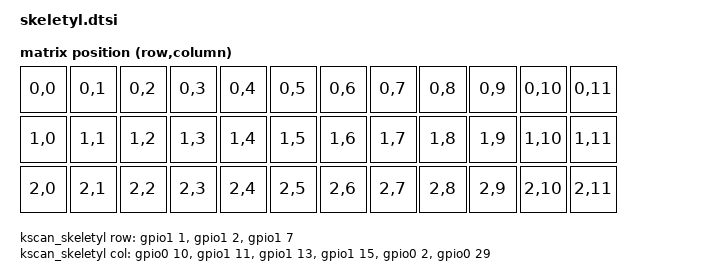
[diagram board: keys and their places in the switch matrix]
/*
 * Copyright (c) 2022 The ZMK Contributors
 *
 * SPDX-License-Identifier: MIT
 */

#include <dt-bindings/zmk/matrix_transform.h>

/ {

    behaviors {
        hml: home_row_mod_left {
            compatible = "zmk,behavior-hold-tap";
            #binding-cells = <2>;
            flavor = "balanced";
            require-prior-idle-ms = <150>;
            tapping-term-ms = <280>;
            quick-tap-ms = <175>;
            bindings = <&kp>, <&kp>;
            hold-trigger-key-positions = < 6 7 8 9 10 11  18 19 20 21 22 23  30 31 32 33 34 35 >; // List of keys on the right side of the keyboard
            hold-trigger-on-release;
        };
        hmr: home_row_mod_right {
            compatible = "zmk,behavior-hold-tap";
            #binding-cells = <2>;
            flavor = "balanced";
            require-prior-idle-ms = <150>;
            tapping-term-ms = <280>;
            quick-tap-ms = <175>;
            bindings = <&kp>, <&kp>;
            hold-trigger-key-positions = < 0 1 2 3 4 5  12 13 14 15 16 17  24 25 26 27 28 29 >; // List of keys on the left side of the keyboard
            hold-trigger-on-release;
        };
    };

    chosen {
        zmk,kscan = &kscan_skeletyl;
        zmk,physical-layout = &physical_layout0;
    };

    physical_layout0: physical_layout_0 { // First physical layout, use different naming for other layouts
        compatible = "zmk,physical-layout";
        display-name = "Default Layout";
        kscan = <&kscan_skeletyl>; // Label of the kscan node, optional if all layouts use the same
        transform = <&default_transform_skeletyl>; // Label of the matrix transform for this layout
    };

    default_transform_skeletyl: keymap_transform {
        compatible = "zmk,matrix-transform";
        columns = <12>;
        rows = <3>;
// | SW1  | SW2  | SW3  | SW4  | SW5  | SW6  |   | SW6  | SW5  | SW4  | SW3  | SW2  | SW1  |
// | SW7  | SW8  | SW9  | SW10 | SW11 | SW12 |   | SW12 | SW11 | SW10 | SW9  | SW8  | SW7  |
// | SW13 | SW14 | SW15 | SW16 | SW17 | SW18 |   | SW18 | SW17 | SW16 | SW15 | SW14 | SW13 |
        map = <
            RC(0,0) RC(0,1) RC(0,2) RC(0,3) RC(0,4) RC(0,5)  RC(0,6) RC(0,7) RC(0,8) RC(0,9) RC(0,10) RC(0,11)
            RC(1,0) RC(1,1) RC(1,2) RC(1,3) RC(1,4) RC(1,5)  RC(1,6) RC(1,7) RC(1,8) RC(1,9) RC(1,10) RC(1,11)
            RC(2,0) RC(2,1) RC(2,2) RC(2,3) RC(2,4) RC(2,5)  RC(2,6) RC(2,7) RC(2,8) RC(2,9) RC(2,10) RC(2,11)
        >;
    };

    kscan_skeletyl: kscan {
        compatible = "zmk,kscan-gpio-matrix";
        label = "KSCAN0";
        diode-direction = "col2row";
        wakeup-source;

        row-gpios
            = <&gpio1 1 (GPIO_ACTIVE_HIGH | GPIO_PULL_DOWN)>
            , <&gpio1 2 (GPIO_ACTIVE_HIGH | GPIO_PULL_DOWN)>
            , <&gpio1 7 (GPIO_ACTIVE_HIGH | GPIO_PULL_DOWN)>
            ;

        col-gpios
            = <&gpio0 10 GPIO_ACTIVE_HIGH>
            , <&gpio1 11 GPIO_ACTIVE_HIGH>
            , <&gpio1 13 GPIO_ACTIVE_HIGH>
            , <&gpio1 15 GPIO_ACTIVE_HIGH>
            , <&gpio0 2 GPIO_ACTIVE_HIGH>
            , <&gpio0 29 GPIO_ACTIVE_HIGH>
            ;
    };
};

